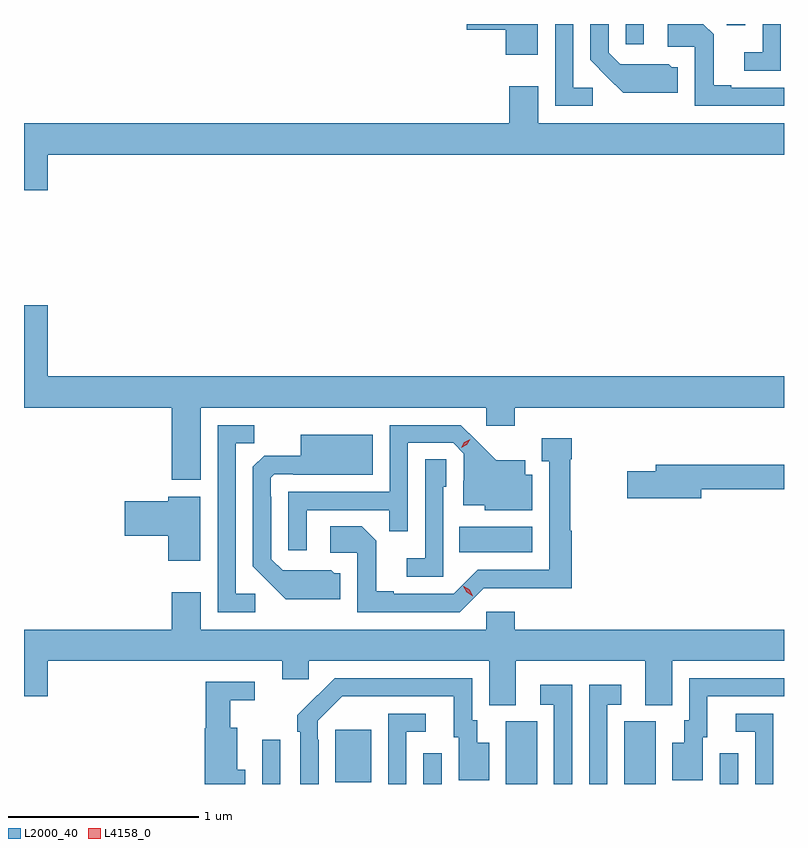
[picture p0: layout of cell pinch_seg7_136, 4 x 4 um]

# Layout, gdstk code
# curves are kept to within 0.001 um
import gdstk
lib = gdstk.Library(unit=1e-6, precision=1e-09)
def R(c, l, rs):  # rectangles x0, y0, x1, y1
    for r in rs: c.add(gdstk.rectangle(r[:2], r[2:], *l))
def P(c, l, *ps):  # polygons
    for p in ps: c.add(gdstk.Polygon(p, *l))
L2000_40 = (2000, 40)
L4158_0 = (4158, 0)

pinch_seg7_136 = lib.new_cell('pinch_seg7_136')
R(pinch_seg7_136, L2000_40, [(1029.435,1007.959,1029.531,1008.193), (1030.284,1007.959,1030.38,1008.121), (1030.718,1007.959,1030.882,1008.288), (1031.342,1007.959,1031.506,1008.288), (1031.844,1007.959,1031.94,1008.121), (1029.821,1007.969,1030.009,1008.244), (1030.474,1009.178,1030.858,1009.312), (1031.349,1011.852,1031.445,1011.959), (1031.881,1011.952,1031.979,1011.959)])
P(pinch_seg7_136, L2000_40, [(1030.885,1011.959),(1030.512,1011.959),(1030.512,1011.929),(1030.718,1011.929),(1030.718,1011.798),(1030.885,1011.798)],
  [(1032.165,1011.959),(1032.069,1011.959),(1032.069,1011.811),(1031.973,1011.811),(1031.973,1011.714),(1032.165,1011.714)],
  [(1031.623,1011.732),(1031.592,1011.732),(1031.576,1011.748),(1031.319,1011.747),(1031.259,1011.807),(1031.259,1011.959),(1031.163,1011.959),(1031.163,1011.77),(1031.335,1011.596),(1031.623,1011.596)],
  [(1031.176,1011.624),(1031.073,1011.624),(1031.073,1011.959),(1030.977,1011.959),(1030.977,1011.528),(1031.176,1011.528)],
  [(1032.182,1011.624),(1031.905,1011.624),(1031.905,1011.637),(1031.811,1011.637),(1031.811,1011.904),(1031.756,1011.959),(1031.571,1011.959),(1031.571,1011.84),(1031.712,1011.84),(1031.712,1011.528),(1032.182,1011.528)],
  [(1028.308,1011.272),(1032.182,1011.272),(1032.182,1011.436),(1030.888,1011.436),(1030.888,1011.631),(1030.736,1011.631),(1030.736,1011.436),(1028.182,1011.436),(1028.182,1011.084),(1028.308,1011.084)],
  [(1029.112,1009.94),(1030.614,1009.94),(1030.614,1009.845),(1030.766,1009.845),(1030.766,1009.94),(1032.182,1009.94),(1032.182,1010.104),(1028.308,1010.104),(1028.308,1010.479),(1028.182,1010.479),(1028.182,1009.94),(1028.96,1009.94),(1028.96,1009.56),(1029.112,1009.56)],
  [(1029.4,1008.96),(1029.297,1008.96),(1029.297,1009.753),(1029.393,1009.753),(1029.393,1009.848),(1029.201,1009.848),(1029.201,1008.864),(1029.4,1008.864)],
  [(1029.669,1009.401),(1030.105,1009.401),(1030.105,1009.288),(1030.203,1009.288),(1030.203,1009.755),(1030.44,1009.755),(1030.497,1009.698),(1030.497,1009.556),(1030.493,1009.556),(1030.493,1009.427),(1030.608,1009.427),(1030.608,1009.4),(1030.858,1009.4),(1030.858,1009.587),(1030.819,1009.587),(1030.819,1009.663),(1030.667,1009.663),(1030.48,1009.848),(1030.107,1009.848),(1030.107,1009.497),(1029.573,1009.497),(1029.573,1009.188),(1029.669,1009.188)],
  [(1029.847,1009.068),(1029.816,1009.068),(1029.8,1009.084),(1029.543,1009.083),(1029.483,1009.143),(1029.483,1009.472),(1029.48,1009.472),(1029.48,1009.572),(1029.498,1009.59),(1029.598,1009.59),(1029.598,1009.586),(1030.018,1009.586),(1030.018,1009.798),(1029.638,1009.798),(1029.638,1009.687),(1029.446,1009.687),(1029.387,1009.628),(1029.387,1009.106),(1029.559,1008.932),(1029.847,1008.932)],
  [(1030.602,1008.99),(1031.065,1008.989),(1031.065,1009.293),(1031.057,1009.293),(1031.057,1009.667),(1031.065,1009.667),(1031.065,1009.78),(1030.907,1009.78),(1030.907,1009.659),(1030.946,1009.659),(1030.946,1009.086),(1030.569,1009.086),(1030.443,1008.96),(1030.129,1008.96),(1030.129,1008.973),(1030.035,1008.973),(1030.035,1009.24),(1029.959,1009.316),(1029.795,1009.316),(1029.795,1009.176),(1029.936,1009.176),(1029.936,1008.864),(1030.476,1008.864)],
  [(1030.389,1009.524),(1030.404,1009.524),(1030.404,1009.667),(1030.293,1009.667),(1030.293,1009.147),(1030.197,1009.147),(1030.197,1009.05),(1030.389,1009.05)],
  [(1031.746,1009.51),(1032.182,1009.51),(1032.182,1009.639),(1031.507,1009.639),(1031.507,1009.605),(1031.358,1009.605),(1031.358,1009.463),(1031.746,1009.463)],
  [(1029.109,1009.471),(1028.942,1009.471),(1028.942,1009.448),(1028.712,1009.448),(1028.712,1009.265),(1028.942,1009.265),(1028.942,1009.134),(1029.109,1009.134)],
  [(1030.771,1008.608),(1031.453,1008.608),(1031.453,1008.373),(1031.593,1008.373),(1031.593,1008.608),(1032.182,1008.608),(1032.182,1008.772),(1030.766,1008.772),(1030.766,1008.865),(1030.614,1008.865),(1030.614,1008.772),(1029.112,1008.772),(1029.112,1008.967),(1028.96,1008.967),(1028.96,1008.772),(1028.182,1008.772),(1028.182,1008.42),(1028.308,1008.42),(1028.308,1008.608),(1029.542,1008.608),(1029.542,1008.51),(1029.681,1008.51),(1029.681,1008.608),(1030.631,1008.608),(1030.631,1008.373),(1030.771,1008.373)],
  [(1029.732,1008.191),(1029.729,1008.191),(1029.729,1008.291),(1029.858,1008.42),(1030.445,1008.42),(1030.445,1008.204),(1030.469,1008.204),(1030.469,1007.979),(1030.63,1007.979),(1030.63,1008.175),(1030.567,1008.175),(1030.567,1008.294),(1030.542,1008.294),(1030.542,1008.516),(1029.818,1008.516),(1029.621,1008.321),(1029.621,1008.233),(1029.636,1008.233),(1029.636,1007.959),(1029.732,1007.959)],
  [(1031.755,1008.204),(1031.779,1008.204),(1031.779,1008.42),(1032.182,1008.42),(1032.182,1008.516),(1031.682,1008.516),(1031.682,1008.294),(1031.657,1008.294),(1031.657,1008.175),(1031.594,1008.175),(1031.594,1007.979),(1031.755,1007.979)],
  [(1029.346,1008.034),(1029.304,1008.034),(1029.304,1008.256),(1029.268,1008.256),(1029.268,1008.401),(1029.397,1008.401),(1029.397,1008.498),(1029.139,1008.498),(1029.139,1008.252),(1029.134,1008.252),(1029.134,1007.959),(1029.346,1007.959)],
  [(1031.067,1008.481),(1030.899,1008.481),(1030.899,1008.375),(1030.971,1008.375),(1030.971,1007.959),(1031.067,1007.959)],
  [(1031.253,1008.375),(1031.326,1008.375),(1031.326,1008.481),(1031.157,1008.481),(1031.157,1007.959),(1031.253,1007.959)],
  [(1032.126,1008.33),(1031.928,1008.33),(1031.928,1008.234),(1032.03,1008.234),(1032.03,1007.959),(1032.126,1007.959)],
  [(1030.194,1008.234),(1030.297,1008.234),(1030.297,1008.33),(1030.098,1008.33),(1030.098,1007.959),(1030.194,1007.959)])
P(pinch_seg7_136, L4158_0, [(1030.545,1008.948),(1030.513,1008.967),(1030.495,1008.999),(1030.495,1008.999),(1030.496,1008.999),(1030.528,1008.981),(1030.545,1008.948),(1030.545,1008.948)],
  [(1030.482,1009.729),(1030.482,1009.729),(1030.5,1009.759),(1030.531,1009.773),(1030.531,1009.773),(1030.531,1009.773),(1030.513,1009.744),(1030.483,1009.729)])

lib.write_gds('pinch_seg7_136.gds')
